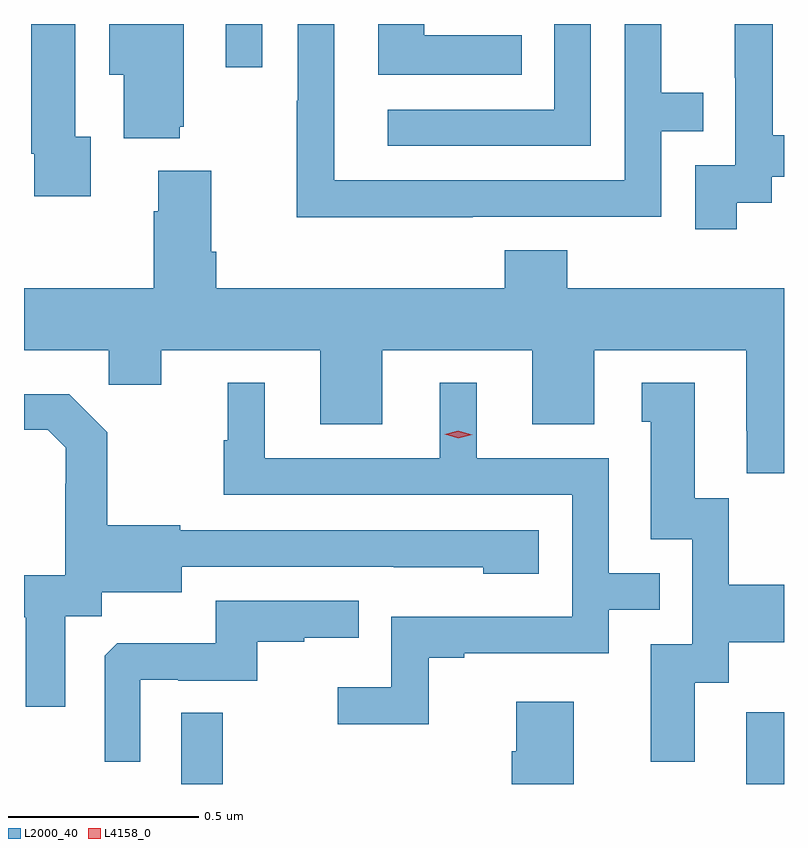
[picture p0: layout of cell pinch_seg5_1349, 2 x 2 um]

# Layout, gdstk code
import gdstk
lib = gdstk.Library(unit=1e-6, precision=1e-09)
def R(c, l, rs):  # rectangles x0, y0, x1, y1
    for r in rs: c.add(gdstk.rectangle(r[:2], r[2:], *l))
def P(c, l, *ps):  # polygons
    for p in ps: c.add(gdstk.Polygon(p, *l))
L2000_40 = (2000, 40)
L4158_0 = (4158, 0)

pinch_seg5_1349 = lib.new_cell('pinch_seg5_1349')
R(pinch_seg5_1349, L2000_40, [(621.942,851.623,622.051,851.81), (623.429,851.623,623.528,851.812), (622.059,853.509,622.155,853.623)])
P(pinch_seg5_1349, L2000_40, [(622.838,853.594),(622.581,853.594),(622.581,853.623),(622.46,853.623),(622.46,853.49),(622.838,853.49)],
  [(623.019,853.623),(622.923,853.623),(622.923,853.398),(622.485,853.398),(622.485,853.302),(623.019,853.302)],
  [(622.709,853.116),(623.205,853.116),(623.205,853.341),(623.315,853.341),(623.315,853.442),(623.205,853.442),(623.205,853.623),(623.109,853.623),(623.109,853.212),(622.344,853.212),(622.344,853.623),(622.248,853.623),(622.248,853.421),(622.246,853.421),(622.246,853.115),(622.709,853.115)],
  [(621.703,853.326),(621.663,853.326),(621.663,853.623),(621.547,853.623),(621.547,853.282),(621.555,853.282),(621.555,853.17),(621.703,853.17)],
  [(623.404,853.153),(623.496,853.153),(623.496,853.221),(623.528,853.221),(623.528,853.33),(623.498,853.33),(623.498,853.613),(623.499,853.613),(623.499,853.623),(623.399,853.623),(623.399,853.481),(623.4,853.481),(623.4,853.251),(623.295,853.251),(623.295,853.083),(623.404,853.083)],
  [(621.938,853.353),(621.949,853.353),(621.949,853.623),(621.752,853.623),(621.752,853.49),(621.791,853.49),(621.791,853.322),(621.938,853.322)],
  [(623.528,852.928),(622.958,852.928),(622.958,853.027),(622.793,853.027),(622.793,852.928),(622.034,852.928),(622.034,853.024),(622.021,853.024),(622.021,853.237),(621.881,853.237),(621.881,853.13),(621.869,853.13),(621.869,852.928),(621.528,852.928),(621.528,852.764),(621.751,852.764),(621.751,852.674),(621.889,852.674),(621.889,852.764),(622.307,852.764),(622.307,852.57),(622.471,852.57),(622.471,852.764),(622.865,852.764),(622.865,852.57),(623.029,852.57),(623.029,852.764),(623.429,852.764),(623.429,852.553),(623.43,852.553),(623.43,852.441),(623.528,852.441)],
  [(622.593,851.955),(622.687,851.955),(622.687,851.967),(623.067,851.967),(623.067,852.081),(623.201,852.081),(623.201,852.177),(623.067,852.177),(623.067,852.48),(622.72,852.48),(622.72,852.679),(622.622,852.679),(622.622,852.48),(622.162,852.48),(622.162,852.679),(622.064,852.679),(622.064,852.528),(622.053,852.528),(622.053,852.384),(622.971,852.384),(622.971,852.063),(622.494,852.063),(622.494,851.878),(622.353,851.878),(622.353,851.78),(622.593,851.78)],
  [(623.293,851.89),(623.383,851.89),(623.383,851.996),(623.528,851.996),(623.528,852.148),(623.382,852.148),(623.382,852.375),(623.293,852.375),(623.293,852.679),(623.153,852.679),(623.153,852.576),(623.177,852.576),(623.177,852.267),(623.286,852.267),(623.286,851.991),(623.177,851.991),(623.177,851.682),(623.293,851.682)],
  [(621.637,852.064),(621.732,852.064),(621.732,852.128),(621.943,852.128),(621.943,852.195),(622.501,852.195),(622.501,852.194),(622.737,852.194),(622.737,852.176),(622.882,852.176),(622.882,852.291),(621.939,852.291),(621.939,852.304),(621.747,852.304),(621.747,852.549),(621.647,852.649),(621.528,852.649),(621.528,852.555),(621.591,852.555),(621.638,852.508),(621.638,852.413),(621.636,852.413),(621.636,852.172),(621.528,852.172),(621.528,852.062),(621.533,852.062),(621.533,851.826),(621.637,851.826)],
  [(621.834,851.898),(621.934,851.898),(621.934,851.895),(622.142,851.895),(622.142,851.997),(622.265,851.997),(622.265,852.008),(622.409,852.008),(622.409,852.105),(622.032,852.105),(622.032,851.993),(621.773,851.993),(621.741,851.961),(621.741,851.681),(621.834,851.681)],
  [(622.975,851.839),(622.823,851.839),(622.823,851.709),(622.811,851.709),(622.811,851.623),(622.975,851.623)])
P(pinch_seg5_1349, L4158_0, [(622.671,852.533),(622.635,852.543),(622.635,852.544),(622.635,852.544),(622.671,852.553),(622.707,852.542),(622.707,852.542),(622.707,852.542)])

lib.write_gds('pinch_seg5_1349.gds')
